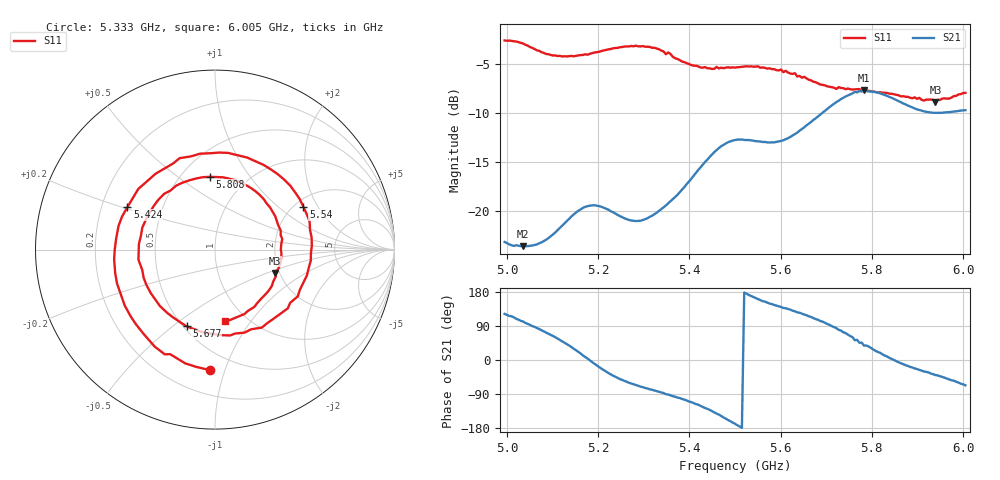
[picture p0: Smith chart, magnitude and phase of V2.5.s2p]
!File created by NanoVNA
# Hz S RI R 50
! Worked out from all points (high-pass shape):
!   201 points, 4.995 GHz to 6.005 GHz, reference 50 ohm
!   highest |S21| = -7.66 dB at 5.783 GHz (marker M1); lowest = -23.6 dB at 5.035 GHz (marker M2)
!   |S21| within 3 dB of the highest: 5.673 GHz to end of sweep
!   lowest |S11| = -8.9 dB at 5.939 GHz (marker M3), VSWR 2.13, Z = 95.1 - j28.4 ohm
!   |S11| at or under -10 dB: nowhere
!   S12 and S22 are empty: the file has one direction only
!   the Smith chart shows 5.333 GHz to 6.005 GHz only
!   S11 on the Smith chart (normalised r, x): 5.333 GHz: 0.36, -0.89; 5.424 GHz: 0.31, +0.21; 5.54 GHz: 2.23, +1.52; 5.677 GHz: 0.52, -0.56; 5.808 GHz: 0.69, +0.67; 6.005 GHz: 0.80, -0.76
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4.995e9  0.2289 -0.7098  -0.0365 0.0589  0 0  0 0
5.0354e9  -0.3537 -0.6265  -0.0132 0.0646  0 0  0 0
5.09095e9  -0.627 0.0946  0.0254 0.0679  0 0  0 0
5.1263e9  -0.375 0.4922  0.0604 0.0619  0 0  0 0
5.1667e9  0.0987 0.6202  0.1014 0.0215  0 0  0 0
5.25255e9  0.6856 -0.079  0.0564 -0.0739  0 0  0 0
5.28285e9  0.5666 -0.4131  0.0361 -0.081  0 0  0 0
5.33335e9  -0.0259 -0.6717  0.0101 -0.0994  0 0  0 0
5.3788e9  -0.5028 -0.3122  -0.0223 -0.1226  0 0  0 0
5.42425e9  -0.4877 0.2372  -0.0858 -0.143  0 0  0 0
5.4596e9  -0.1973 0.5093  -0.1602 -0.1275  0 0  0 0
5.5e9  0.2213 0.4939  -0.2256 -0.0469  0 0  0 0
5.5404e9  0.493 0.2379  -0.2221 0.0546  0 0  0 0
5.601e9  0.4613 -0.2605  -0.1746 0.1468  0 0  0 0
5.6717e9  -0.1166 -0.4433  -0.1027 0.2732  0 0  0 0
5.67675e9  -0.1581 -0.4276  -0.0921 0.283  0 0  0 0
5.72725e9  -0.4265 -0.0562  0.0666 0.3605  0 0  0 0
5.7828e9  -0.2161 0.3563  0.3259 0.2551  0 0  0 0
5.80805e9  -0.0269 0.4053  0.3695 0.1666  0 0  0 0
5.83835e9  0.1713 0.3595  0.3814 0.0379  0 0  0 0
5.93935e9  0.3363 -0.1299  0.2442 -0.2034  0 0  0 0
6.005e9  0.0562 -0.3979  0.1297 -0.3011  0 0  0 0
